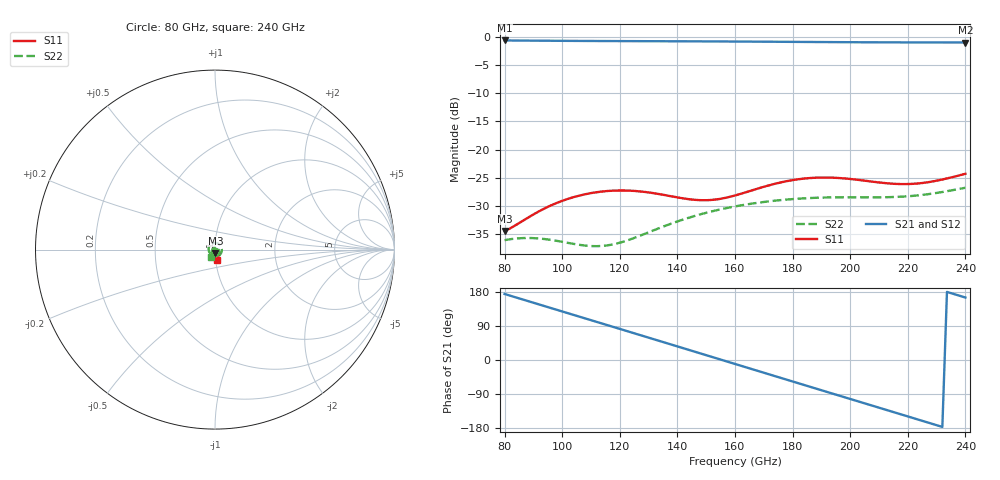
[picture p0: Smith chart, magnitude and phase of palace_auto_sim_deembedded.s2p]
! Created with skrf 1.11.0 (http://scikit-rf.org).
# GHz S DB R 50.0
!freq dBS11 angS11 dBS21 angS21 dBS12 angS12 dBS22 angS22
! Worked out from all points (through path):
!   101 points, 80 GHz to 240 GHz, reference 50 ohm
!   highest |S21| = -0.64 dB at 80 GHz (marker M1); lowest = -1.0 dB at 240 GHz (marker M2)
!   group delay of S21, straight-line fit = 6.41 ps
!   lowest |S11| = -34.5 dB at 80 GHz (marker M3), VSWR 1.04, Z = 50.1 - j1.89 ohm
!   |S11| at or under -10 dB: start of sweep to end of sweep
!   |S22| runs from -37.1 to -26.8 dB; largest |S21 - S12| = 1.1e-14
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80  -34.45 -84.6  -0.64 174.2  -0.64 174.2  -36.06 -98.0
86.4  -32.60 -75.1  -0.66 159.4  -0.66 159.4  -35.69 -117.0
92.8  -30.72 -73.8  -0.68 144.7  -0.68 144.7  -35.80 -140.2
100.8  -28.94 -77.7  -0.71 126.3  -0.71 126.3  -36.43 -175.3
107.2  -28.01 -82.7  -0.73 111.5  -0.73 111.5  -36.97 151.3
113.6  -27.45 -88.3  -0.74 96.8  -0.74 96.8  -37.10 114.2
120  -27.25 -93.8  -0.75 82.0  -0.75 82.0  -36.52 76.3
126.4  -27.39 -98.3  -0.77 67.3  -0.77 67.3  -35.40 40.7
134.4  -27.95 -101.4  -0.78 48.8  -0.78 48.8  -33.79 0.6
147.2  -28.95 -96.4  -0.80 19.2  -0.80 19.2  -31.59 -57.2
153.6  -28.83 -90.3  -0.82 4.4  -0.82 4.4  -30.76 -84.7
160  -28.14 -85.1  -0.83 -10.4  -0.83 -10.4  -30.08 -112.0
172.8  -26.20 -83.7  -0.87 -40.0  -0.87 -40.0  -29.12 -166.5
180.8  -25.35 -87.3  -0.89 -58.5  -0.89 -58.5  -28.75 159.1
187.2  -25.00 -91.1  -0.91 -73.3  -0.91 -73.3  -28.56 131.3
193.6  -24.97 -94.6  -0.93 -88.1  -0.93 -88.1  -28.47 102.9
200  -25.21 -97.0  -0.95 -102.8  -0.95 -102.8  -28.45 73.7
206.4  -25.60 -97.4  -0.97 -117.5  -0.97 -117.5  -28.46 43.5
214.4  -26.04 -94.7  -0.98 -136.0  -0.98 -136.0  -28.42 4.4
227.2  -25.77 -85.8  -0.99 -165.5  -0.99 -165.5  -27.89 -60.3
233.6  -25.11 -82.3  -1.00 179.7  -1.00 179.7  -27.38 -92.0
240  -24.29 -80.8  -1.00 164.8  -1.00 164.8  -26.76 -122.5
